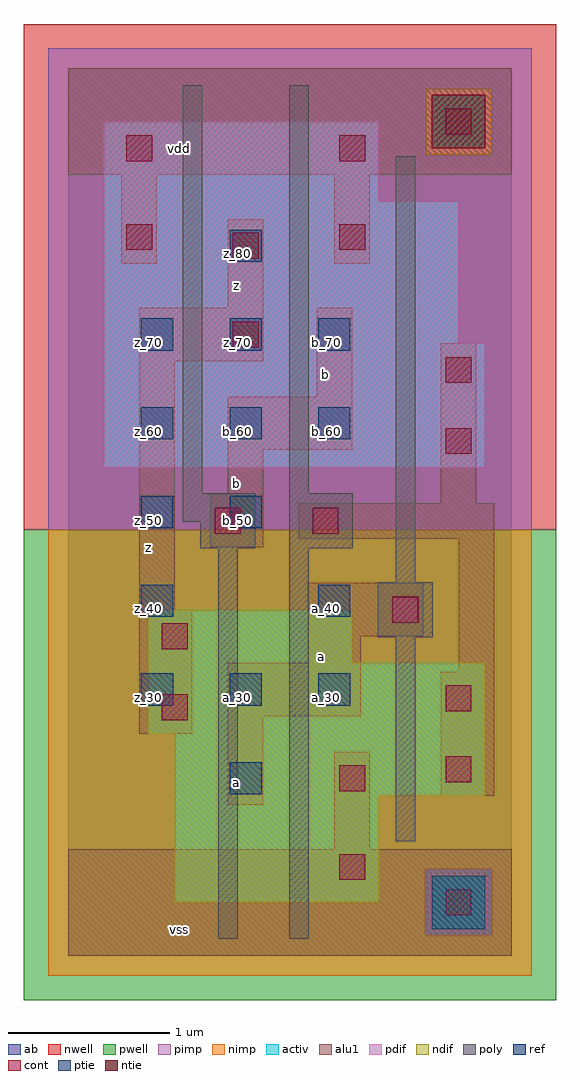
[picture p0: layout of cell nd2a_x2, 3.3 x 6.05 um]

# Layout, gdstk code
import gdstk
lib = gdstk.Library(unit=1e-6, precision=2.5e-09)
def R(c, l, rs):  # rectangles x0, y0, x1, y1
    for r in rs: c.add(gdstk.rectangle(r[:2], r[2:], *l))
def A(c, l, x, y, w, h, nx, ny, dx, dy):  # array of equal rectangles
    R(c, l, [(x+i*dx, y+j*dy, x+i*dx+w, y+j*dy+h) for i in range(nx) for j in range(ny)])
ndif = (3, 0)
pdif = (4, 0)
ntie = (5, 0)
ptie = (6, 0)
ref = (24, 0)
cont = (25, 0)
pwell = (41, 0)
nwell = (42, 0)
activ = (43, 0)
pimp = (44, 0)
nimp = (45, 0)
poly = (46, 0)
alu1 = (49, 0)
ab = (63, 0)

nd2a_x2 = lib.new_cell('nd2a_x2')
R(nd2a_x2, ndif, [(0.66,0.33,1.925,0.99), (0.66,0.99,2.585,1.375), (0.495,1.375,2.585,1.815), (0.495,1.815,1.76,2.145)])
R(nd2a_x2, pdif, [(0.22,3.025,2.585,3.795), (0.22,3.795,2.42,4.675), (0.22,4.675,1.925,5.17)])
R(nd2a_x2, ntie, [(2.255,5.005,2.585,5.335)])
R(nd2a_x2, ptie, [(2.255,0.165,2.585,0.495)])
A(nd2a_x2, ref, 1, 1, 0.2, 0.2, 1, 3, 0, 1.65)
A(nd2a_x2, ref, 0.45, 1.55, 0.2, 0.2, 3, 2, 0.55, 1.65)
A(nd2a_x2, ref, 0.45, 3.75, 0.2, 0.2, 3, 1, 0.55, 0)
R(nd2a_x2, ref, [(0.45,2.1,0.65,2.3), (1.55,2.1,1.75,2.3), (0.45,2.65,0.65,2.85)])
R(nd2a_x2, cont, [(2.34,0.25,2.5,0.41), (1.68,0.47,1.84,0.63), (1.68,1.02,1.84,1.18), (2.34,1.075,2.5,1.235), (0.58,1.46,0.74,1.62), (2.34,1.515,2.5,1.675), (0.58,1.9,0.74,2.06), (2.01,2.065,2.17,2.225), (0.91,2.615,1.07,2.775), (1.515,2.615,1.675,2.775), (2.34,3.11,2.5,3.27), (2.34,3.55,2.5,3.71), (1.02,3.77,1.18,3.93), (1.02,4.32,1.18,4.48), (0.36,4.375,0.52,4.535), (1.68,4.375,1.84,4.535), (0.36,4.925,0.52,5.085), (1.68,4.925,1.84,5.085), (2.34,5.09,2.5,5.25)])
R(nd2a_x2, pwell, [(-0.275,-0.275,3.025,2.64)])
R(nd2a_x2, nwell, [(-0.275,2.64,3.025,5.775)])
R(nd2a_x2, activ, [(2.255,0.165,2.585,0.495), (0.66,0.33,1.925,0.99), (0.66,0.99,2.585,1.375), (0.495,1.375,2.585,1.815), (0.495,1.815,1.76,2.145), (0.22,3.025,2.585,3.795), (0.22,3.795,2.42,4.675), (0.22,4.675,1.925,5.17), (2.255,5.005,2.585,5.335)])
R(nd2a_x2, pimp, [(2.215,0.125,2.625,0.535), (-0.125,2.64,2.875,4.965), (-0.125,4.965,2.215,5.375), (2.625,4.965,2.875,5.375), (-0.125,5.375,2.875,5.625)])
R(nd2a_x2, nimp, [(-0.125,-0.125,2.875,0.125), (-0.125,0.125,2.215,0.535), (2.625,0.125,2.875,0.535), (-0.125,0.535,2.875,2.64), (2.215,4.965,2.625,5.375)])
R(nd2a_x2, poly, [(0.93,0.105,1.05,2.525), (1.37,0.105,1.49,2.525), (2.03,0.71,2.15,1.975), (1.92,1.975,2.26,2.315), (2.03,2.315,2.15,4.955), (0.82,2.525,1.16,2.69), (1.37,2.525,1.765,2.865), (0.71,2.69,1.16,2.865), (0.71,2.865,0.83,5.395), (1.37,2.865,1.49,5.395)])
R(nd2a_x2, alu1, [(0,0,2.75,0.66), (1.65,0.66,1.87,1.265), (0.99,0.935,1.21,1.485), (2.31,0.99,2.64,1.76), (0.44,1.375,0.77,2.145), (0.99,1.485,1.815,1.815), (2.42,1.76,2.64,2.585), (1.485,1.815,1.815,1.98), (1.485,1.98,2.2,2.31), (0.44,2.145,0.66,3.685), (0.88,2.53,1.21,2.86), (1.43,2.585,2.64,2.805), (2.31,2.805,2.53,3.795), (0.99,2.86,1.21,3.135), (0.99,3.135,1.76,3.465), (1.54,3.465,1.76,4.015), (0.44,3.685,1.21,4.015), (0.99,4.015,1.21,4.565), (0.33,4.29,0.55,4.84), (1.65,4.29,1.87,4.84), (0,4.84,2.75,5.5)])
R(nd2a_x2, ab, [(0,0,2.75,5.5)])
nd2a_x2.add(gdstk.Label('vss', (0.6875,0.165), layer=49, texttype=0))
nd2a_x2.add(gdstk.Label('a', (1.045,1.0725), layer=49, texttype=0))
nd2a_x2.add(gdstk.Label('a', (1.5675,1.855), layer=49, texttype=0))
nd2a_x2.add(gdstk.Label('b', (1.045,2.9275), layer=49, texttype=0))
nd2a_x2.add(gdstk.Label('b', (1.595,3.6025), layer=49, texttype=0))
nd2a_x2.add(gdstk.Label('z', (0.495,2.53), layer=49, texttype=0))
nd2a_x2.add(gdstk.Label('z', (1.045,4.1525), layer=49, texttype=0))
nd2a_x2.add(gdstk.Label('vdd', (0.6875,5.005), layer=49, texttype=0))
nd2a_x2.add(gdstk.Label('a_30', (1.6,1.6), layer=24, texttype=0))
nd2a_x2.add(gdstk.Label('a_30', (1.05,1.6), layer=24, texttype=0))
nd2a_x2.add(gdstk.Label('a_20', (1.05,1.05), layer=24, texttype=0))
nd2a_x2.add(gdstk.Label('b_50', (1.05,2.7), layer=24, texttype=0))
nd2a_x2.add(gdstk.Label('z_70', (1.05,3.8), layer=24, texttype=0))
nd2a_x2.add(gdstk.Label('z_60', (0.5,3.25), layer=24, texttype=0))
nd2a_x2.add(gdstk.Label('z_50', (0.5,2.7), layer=24, texttype=0))
nd2a_x2.add(gdstk.Label('z_40', (0.5,2.15), layer=24, texttype=0))
nd2a_x2.add(gdstk.Label('z_80', (1.05,4.35), layer=24, texttype=0))
nd2a_x2.add(gdstk.Label('b_60', (1.05,3.25), layer=24, texttype=0))
nd2a_x2.add(gdstk.Label('b_60', (1.6,3.25), layer=24, texttype=0))
nd2a_x2.add(gdstk.Label('b_70', (1.6,3.8), layer=24, texttype=0))
nd2a_x2.add(gdstk.Label('a_40', (1.6,2.15), layer=24, texttype=0))
nd2a_x2.add(gdstk.Label('z_70', (0.5,3.8), layer=24, texttype=0))
nd2a_x2.add(gdstk.Label('z_30', (0.5,1.6), layer=24, texttype=0))

lib.write_gds('nd2a_x2.gds')
